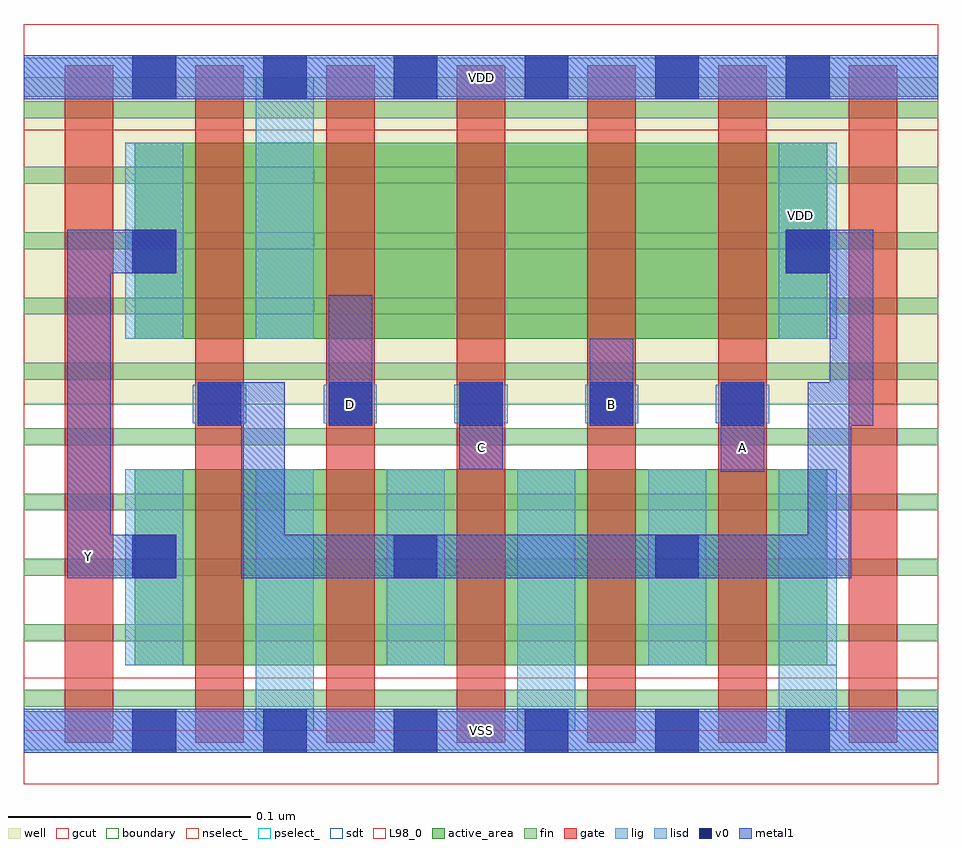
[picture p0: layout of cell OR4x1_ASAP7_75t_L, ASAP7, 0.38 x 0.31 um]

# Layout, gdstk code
import gdstk
lib = gdstk.Library(unit=1e-6, precision=2.5e-10)
def R(c, l, rs):  # rectangles x0, y0, x1, y1
    for r in rs: c.add(gdstk.rectangle(r[:2], r[2:], *l))
def A(c, l, x, y, w, h, nx, ny, dx, dy):  # array of equal rectangles
    R(c, l, [(x+i*dx, y+j*dy, x+i*dx+w, y+j*dy+h) for i in range(nx) for j in range(ny)])
def P(c, l, *ps):  # polygons
    for p in ps: c.add(gdstk.Polygon(p, *l))
well = (1, 0)
fin = (2, 0)
gate = (7, 0)
gcut = (10, 0)
active_area = (11, 0)
nselect_ = (12, 0)
pselect_ = (13, 0)
lig = (16, 0)
lisd = (17, 0)
v0 = (18, 0)
metal1 = (19, 0)
sdt = (88, 0)
L98_0 = (98, 0)
boundary = (100, 0)

or4x1_asap7_75t_l = lib.new_cell('OR4x1_ASAP7_75t_L')
R(or4x1_asap7_75t_l, well, [(0,0.135,0.378,0.27)])
A(or4x1_asap7_75t_l, fin, 0, 0.01, 0.378, 0.007, 1, 10, 0, 0.027)
A(or4x1_asap7_75t_l, gate, 0.017, -0.005, 0.02, 0.28, 7, 1, 0.054, 0)
R(or4x1_asap7_75t_l, gcut, [(0,-0.022,0.378,0.022), (0,0.248,0.378,0.292)])
R(or4x1_asap7_75t_l, active_area, [(0.046,0.027,0.332,0.108), (0.046,0.162,0.332,0.243)])
R(or4x1_asap7_75t_l, nselect_, [(0,0,0.378,0.135)])
R(or4x1_asap7_75t_l, pselect_, [(0,0.135,0.378,0.27)])
A(or4x1_asap7_75t_l, lig, 0.07, 0.127, 0.022, 0.016, 5, 1, 0.054, 0)
R(or4x1_asap7_75t_l, lig, [(0,-0.008,0.378,0.008), (0,0.262,0.378,0.278)])
A(or4x1_asap7_75t_l, lisd, 0.096, 0, 0.024, 0.108, 3, 1, 0.108, 0)
A(or4x1_asap7_75t_l, lisd, 0.042, 0.027, 0.024, 0.081, 3, 1, 0.108, 0)
R(or4x1_asap7_75t_l, lisd, [(0.042,0.162,0.066,0.243), (0.096,0.162,0.12,0.27), (0.312,0.162,0.336,0.243)])
A(or4x1_asap7_75t_l, v0, 0.045, -0.009, 0.018, 0.018, 6, 2, 0.054, 0.27)
A(or4x1_asap7_75t_l, v0, 0.045, 0.063, 0.018, 0.018, 3, 1, 0.108, 0)
A(or4x1_asap7_75t_l, v0, 0.072, 0.126, 0.018, 0.018, 5, 1, 0.054, 0)
R(or4x1_asap7_75t_l, v0, [(0.045,0.189,0.063,0.207), (0.315,0.189,0.333,0.207)])
R(or4x1_asap7_75t_l, metal1, [(0,-0.009,0.378,0.009), (0.288,0.107,0.306,0.144), (0.18,0.108,0.198,0.144), (0.126,0.126,0.144,0.18), (0.234,0.126,0.252,0.162), (0,0.261,0.378,0.279)])
P(or4x1_asap7_75t_l, metal1, [(0.09,0.063),(0.09,0.126),(0.072,0.126),(0.072,0.144),(0.108,0.144),(0.108,0.081),(0.324,0.081),(0.324,0.144),(0.333,0.144),(0.333,0.189),(0.315,0.189),(0.315,0.207),(0.351,0.207),(0.351,0.126),(0.342,0.126),(0.342,0.063)],
  [(0.018,0.063),(0.018,0.207),(0.063,0.207),(0.063,0.189),(0.036,0.189),(0.036,0.081),(0.063,0.081),(0.063,0.063)])
A(or4x1_asap7_75t_l, sdt, 0.042, 0.027, 0.024, 0.081, 6, 1, 0.054, 0)
R(or4x1_asap7_75t_l, sdt, [(0.042,0.162,0.066,0.243), (0.096,0.162,0.12,0.243), (0.312,0.162,0.336,0.243)])
R(or4x1_asap7_75t_l, L98_0, [(0,0,0.378,0.27)])
R(or4x1_asap7_75t_l, boundary, [(0,0,0.378,0.27)])
or4x1_asap7_75t_l.add(gdstk.Label('Y', (0.027,0.072), layer=19, texttype=251))
or4x1_asap7_75t_l.add(gdstk.Label('B', (0.243,0.135), layer=19, texttype=251))
or4x1_asap7_75t_l.add(gdstk.Label('D', (0.135,0.135), layer=19, texttype=251))
or4x1_asap7_75t_l.add(gdstk.Label('C', (0.189,0.117), layer=19, texttype=251))
or4x1_asap7_75t_l.add(gdstk.Label('A', (0.297,0.117), layer=19, texttype=251))
or4x1_asap7_75t_l.add(gdstk.Label('VSS', (0.189,0), layer=19, texttype=251))
or4x1_asap7_75t_l.add(gdstk.Label('VDD', (0.189,0.27), layer=19, texttype=251))
or4x1_asap7_75t_l.add(gdstk.Label('VDD', (0.321,0.213), layer=1, texttype=251))
or4x1_asap7_75t_l.add(gdstk.Label('VSS', (0.435,0.213), layer=3, texttype=251))

lib.write_gds('OR4x1_ASAP7_75t_L.gds')
